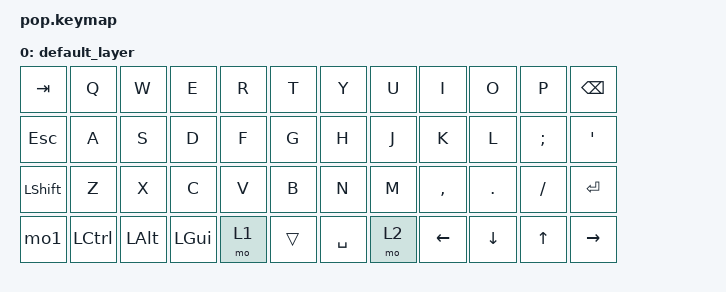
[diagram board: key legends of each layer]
#include <behaviors.dtsi>
#include <dt-bindings/zmk/bt.h>
#include <dt-bindings/zmk/bt.h>

/{
    keymap{
        compatible = "zmk,keymap"; 

        default_layer {
            // -----------------------------------------------------------------------------------------
			// |  TAB  |  Q   |  W   |  E   |  R   |  T   |   Y   |  U    |  I   |  O   |   P   | BSPC  |
			// |  ESC  |  A   |  S   |  D   |  F   |  G   |   H   |  J    |  K   |  L   |   ;   |  '    |
			// | SHIFT |  Z   |  X   |  C   |  V   |  B   |   N   |  M    |  ,   |  .   |   /   |  RET  |
			// |       | LCTL | LALT | LGUI | LOWR |     SPACE    |  RAIS | LARW | DARW | UARW  |  RARW |
			bindings = <
				&kp TAB  &kp Q    &kp W &kp E &kp R &kp T  &kp Y   &kp U  &kp I    &kp O   &kp P    &kp BSPC
				&kp ESC  &kp A    &kp S &kp D &kp F &kp G  &kp H   &kp J  &kp K    &kp L   &kp SEMI &kp SQT
				&kp LSHFT &kp Z    &kp X &kp C &kp V &kp B  &kp N   &kp M  &kp COMMA &kp DOT &kp SLASH &kp RET
				&mo1   &kp LCTL &kp LALT &kp LGUI &mo 1 &trans &kp SPACE &mo 2 &kp LEFT &kp DOWN &kp UP &kp RIGHT
			>;
		
	};
};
